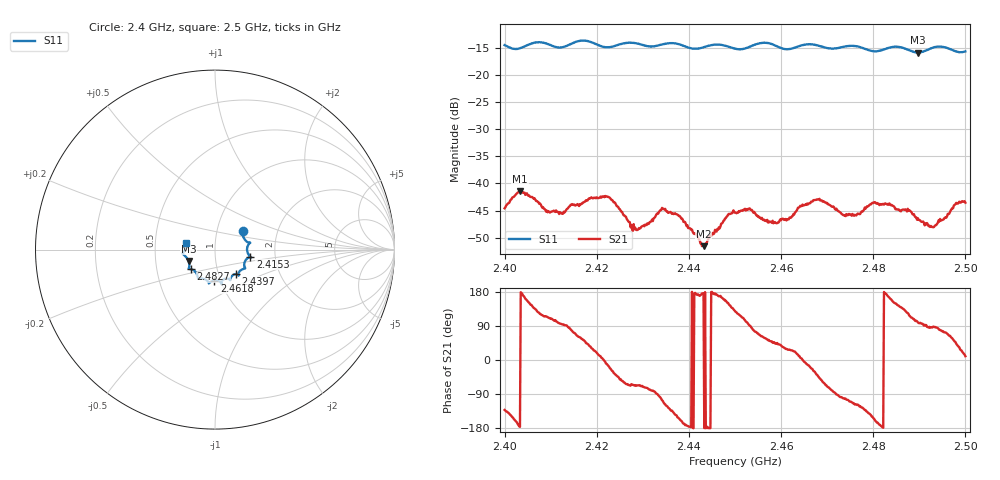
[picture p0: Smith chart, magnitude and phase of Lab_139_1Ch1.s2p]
# Hz S RI R 50
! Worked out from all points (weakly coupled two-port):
!   601 points, 2.4 GHz to 2.5 GHz, reference 50 ohm
!   highest |S21| = -41.48 dB at 2.4033 GHz (marker M1); lowest = -51.6 dB at 2.4432 GHz (marker M2)
!   lowest |S11| = -15.9 dB at 2.4897 GHz (marker M3), VSWR 1.38, Z = 36.9 - j4.84 ohm
!   |S11| at or under -10 dB: start of sweep to end of sweep
!   S12 and S22 are empty: the file has one direction only
!   S11 on the Smith chart (normalised r, x): 2.4 GHz: 1.33, +0.29; 2.4153 GHz: 1.48, -0.12; 2.4397 GHz: 1.21, -0.34; 2.4618 GHz: 0.94, -0.33; 2.4827 GHz: 0.75, -0.17; 2.5 GHz: 0.72, +0.06
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2.4e9  0.1549 0.1062  -0.00393 -0.00439  0 0  0 0
2.403333e9  0.167 0.0549  -0.00842 -0.000528  0 0  0 0
2.4095e9  0.1888 0.0314  -0.00209 0.00515  0 0  0 0
2.415333e9  0.1966 -0.0392  0.00218 0.00584  0 0  0 0
2.416667e9  0.2025 -0.0432  0.00364 0.00539  0 0  0 0
2.422333e9  0.1657 -0.0685  0.00732 -0.00166  0 0  0 0
2.428667e9  0.1639 -0.1053  0.00144 -0.00342  0 0  0 0
2.433333e9  0.1301 -0.1341  -0.000271 -0.00525  0 0  0 0
2.4375e9  0.1307 -0.1422  -0.00452 -0.00249  0 0  0 0
2.439667e9  0.1169 -0.1363  -0.0041 -0.000456  0 0  0 0
2.443167e9  0.0876 -0.1566  -0.00263 0.000185  0 0  0 0
2.45e9  0.065 -0.1618  -0.00342 0.00417  0 0  0 0
2.453167e9  0.0377 -0.1774  -6.35e-05 0.00589  0 0  0 0
2.458833e9  0.0322 -0.1827  0.00308 0.00302  0 0  0 0
2.461833e9  -0.00338 -0.1727  0.0043 0.00224  0 0  0 0
2.466667e9  -0.0348 -0.1878  0.00625 -0.00266  0 0  0 0
2.474e9  -0.0885 -0.1601  -0.00103 -0.00488  0 0  0 0
2.482667e9  -0.135 -0.109  -0.00652 0.000521  0 0  0 0
2.483333e9  -0.1402 -0.1085  -0.00618 0.00145  0 0  0 0
2.489667e9  -0.1472 -0.0639  -0.000796 0.00472  0 0  0 0
2.493167e9  -0.1774 -0.0257  0.000159 0.00396  0 0  0 0
2.5e9  -0.1598 0.0389  0.00654 0.00114  0 0  0 0
